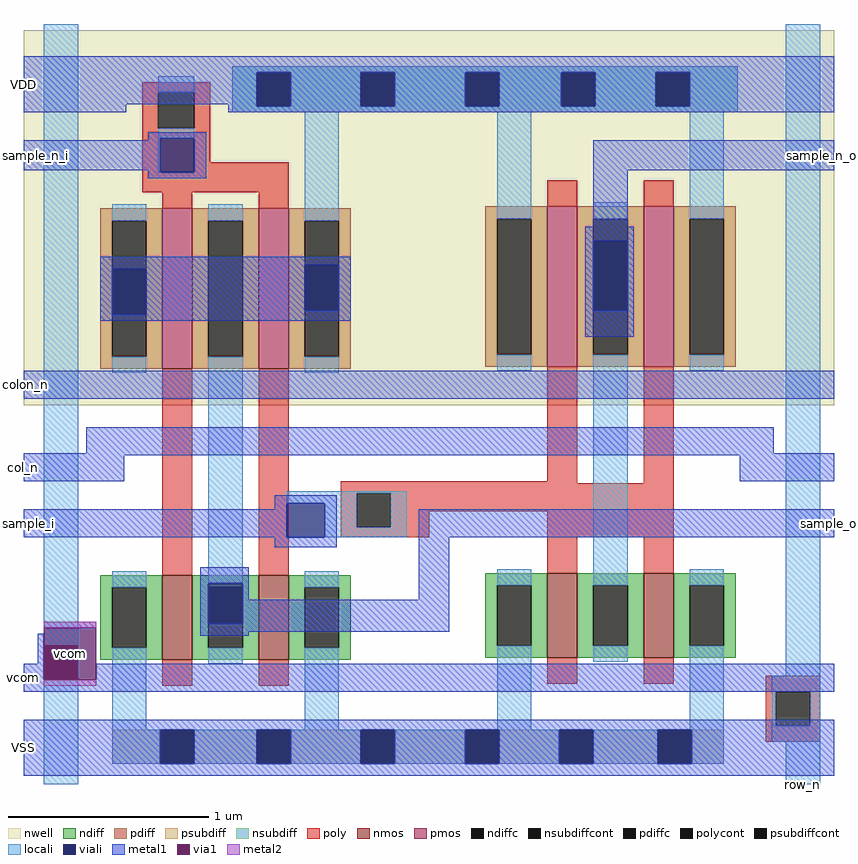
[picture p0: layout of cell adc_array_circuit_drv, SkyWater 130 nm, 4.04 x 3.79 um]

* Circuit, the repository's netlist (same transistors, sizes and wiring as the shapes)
* NGSPICE file created from adc_array_circuit_150n_Drv.ext - technology: sky130A

.subckt adc_array_circuit_drv vcom col_n colon_n row_n sample_n_i sample_i sample_o
+ sample_n_o VDD VSS
X0 sample_n_o sample_i VSS VSS sky130_fd_pr__nfet_01v8 ad=1.386e+11p pd=1.5e+06u as=5.208e+11p ps=5.84e+06u w=420000u l=150000u
X1 VSS sample_i sample_n_o VSS sky130_fd_pr__nfet_01v8 ad=0p pd=0u as=0p ps=0u w=420000u l=150000u
X2 sample_n_o sample_i VDD VDD sky130_fd_pr__pfet_01v8 ad=2.64e+11p pd=2.26e+06u as=9.92e+11p ps=8.88e+06u w=800000u l=150000u
X3 VDD sample_i sample_n_o VDD sky130_fd_pr__pfet_01v8 ad=0p pd=0u as=0p ps=0u w=800000u l=150000u
X4 sample_o sample_n_i VSS VSS sky130_fd_pr__nfet_01v8 ad=1.386e+11p pd=1.5e+06u as=0p ps=0u w=420000u l=150000u
X5 VSS sample_n_i sample_o VSS sky130_fd_pr__nfet_01v8 ad=0p pd=0u as=0p ps=0u w=420000u l=150000u
X6 sample_o sample_n_i VDD VDD sky130_fd_pr__pfet_01v8 ad=2.64e+11p pd=2.26e+06u as=0p ps=0u w=800000u l=150000u
X7 VDD sample_n_i sample_o VDD sky130_fd_pr__pfet_01v8 ad=0p pd=0u as=0p ps=0u w=800000u l=150000u
.ends

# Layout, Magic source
magic
tech sky130A
<< nwell >>
rect 117 474 521 661
<< nmos >>
rect 186 347 201 389
rect 234 347 249 389
rect 378 348 393 390
rect 426 348 441 390
<< pmos >>
rect 186 492 201 572
rect 234 492 249 572
rect 378 493 393 573
rect 426 493 441 573
<< ndiff >>
rect 155 383 186 389
rect 155 353 161 383
rect 178 353 186 383
rect 155 347 186 353
rect 201 383 234 389
rect 201 353 209 383
rect 226 353 234 383
rect 201 347 234 353
rect 249 383 280 389
rect 249 353 257 383
rect 274 353 280 383
rect 249 347 280 353
rect 347 384 378 390
rect 347 354 353 384
rect 370 354 378 384
rect 347 348 378 354
rect 393 384 426 390
rect 393 354 401 384
rect 418 354 426 384
rect 393 348 426 354
rect 441 384 472 390
rect 441 354 449 384
rect 466 354 472 384
rect 441 348 472 354
<< pdiff >>
rect 155 566 186 572
rect 155 498 161 566
rect 178 498 186 566
rect 155 492 186 498
rect 201 566 234 572
rect 201 498 209 566
rect 226 498 234 566
rect 201 492 234 498
rect 249 566 280 572
rect 249 498 257 566
rect 274 498 280 566
rect 249 492 280 498
rect 347 567 378 573
rect 347 499 353 567
rect 370 499 378 567
rect 347 493 378 499
rect 393 567 426 573
rect 393 499 401 567
rect 418 499 426 567
rect 393 493 426 499
rect 441 567 472 573
rect 441 499 449 567
rect 466 499 472 567
rect 441 493 472 499
<< ndiffc >>
rect 161 353 178 383
rect 209 353 226 383
rect 257 353 274 383
rect 353 354 370 384
rect 401 354 418 384
rect 449 354 466 384
<< pdiffc >>
rect 161 498 178 566
rect 209 498 226 566
rect 257 498 274 566
rect 353 499 370 567
rect 401 499 418 567
rect 449 499 466 567
<< psubdiff >>
rect 161 295 185 312
rect 202 295 233 312
rect 250 295 285 312
rect 302 295 337 312
rect 354 295 384 312
rect 401 295 433 312
rect 450 295 466 312
<< nsubdiff >>
rect 221 640 473 643
rect 221 623 233 640
rect 250 623 285 640
rect 302 623 337 640
rect 354 623 385 640
rect 402 623 432 640
rect 449 623 473 640
rect 221 620 473 623
<< psubdiffcont >>
rect 185 295 202 312
rect 233 295 250 312
rect 285 295 302 312
rect 337 295 354 312
rect 384 295 401 312
rect 433 295 450 312
<< nsubdiffcont >>
rect 233 623 250 640
rect 285 623 302 640
rect 337 623 354 640
rect 385 623 402 640
rect 432 623 449 640
<< poly >>
rect 176 630 210 635
rect 176 612 184 630
rect 202 612 210 630
rect 176 595 210 612
rect 176 580 249 595
rect 186 572 201 580
rect 234 572 249 580
rect 378 573 393 586
rect 426 573 441 586
rect 186 389 201 492
rect 234 389 249 492
rect 378 436 393 493
rect 275 435 393 436
rect 426 435 441 493
rect 275 430 441 435
rect 275 413 283 430
rect 300 421 441 430
rect 300 413 319 421
rect 275 408 319 413
rect 378 408 441 421
rect 378 390 393 408
rect 426 390 441 408
rect 186 334 201 347
rect 234 334 249 347
rect 378 335 393 348
rect 426 335 441 348
rect 487 331 514 339
rect 487 314 492 331
rect 509 314 514 331
rect 487 306 514 314
<< polycont >>
rect 184 612 202 630
rect 283 413 300 430
rect 492 314 509 331
<< locali >>
rect 127 354 144 664
rect 221 640 473 643
rect 184 630 202 638
rect 221 623 233 640
rect 250 623 285 640
rect 302 623 337 640
rect 354 623 385 640
rect 402 623 432 640
rect 449 623 473 640
rect 221 620 473 623
rect 184 607 202 612
rect 184 590 185 607
rect 161 566 178 574
rect 161 490 178 498
rect 209 566 226 574
rect 127 285 144 337
rect 161 383 178 391
rect 161 312 178 353
rect 209 385 226 498
rect 257 566 274 620
rect 257 490 274 498
rect 353 567 370 620
rect 353 491 370 499
rect 401 567 418 575
rect 248 430 308 431
rect 248 425 283 430
rect 267 413 283 425
rect 300 413 308 430
rect 267 408 308 413
rect 209 345 226 353
rect 257 383 274 391
rect 257 312 274 353
rect 353 384 370 392
rect 353 312 370 354
rect 401 384 418 499
rect 449 567 466 620
rect 449 491 466 499
rect 401 346 418 354
rect 449 384 466 392
rect 449 312 466 354
rect 497 339 514 664
rect 161 295 185 312
rect 202 295 233 312
rect 250 295 285 312
rect 302 295 337 312
rect 354 295 384 312
rect 401 295 433 312
rect 450 295 466 312
rect 490 331 514 339
rect 490 314 492 331
rect 509 314 514 331
rect 490 306 514 314
rect 497 285 514 306
<< viali >>
rect 233 623 250 640
rect 285 623 302 640
rect 337 623 354 640
rect 385 623 402 640
rect 432 623 449 640
rect 185 590 202 607
rect 161 519 178 542
rect 127 337 144 354
rect 257 521 274 544
rect 401 521 418 556
rect 248 408 267 425
rect 209 383 226 385
rect 209 365 226 383
rect 185 295 202 312
rect 233 295 250 312
rect 285 295 302 312
rect 337 295 354 312
rect 384 295 401 312
rect 433 295 450 312
<< metal1 >>
rect 117 640 521 648
rect 117 624 233 640
rect 117 620 168 624
rect 219 623 233 624
rect 250 623 285 640
rect 302 623 337 640
rect 354 623 385 640
rect 402 623 432 640
rect 449 623 521 640
rect 219 620 521 623
rect 179 607 208 610
rect 179 606 185 607
rect 117 591 185 606
rect 179 590 185 591
rect 202 590 208 607
rect 179 587 208 590
rect 401 591 521 606
rect 401 563 418 591
rect 397 556 421 563
rect 155 544 280 548
rect 155 542 257 544
rect 155 519 161 542
rect 178 521 257 542
rect 274 521 280 544
rect 178 519 280 521
rect 155 516 280 519
rect 397 521 401 556
rect 418 521 421 556
rect 397 508 421 521
rect 117 477 521 491
rect 148 450 491 463
rect 117 449 521 450
rect 117 436 167 449
rect 474 436 521 449
rect 242 425 273 429
rect 242 422 248 425
rect 117 408 248 422
rect 267 408 273 425
rect 242 403 273 408
rect 314 408 521 422
rect 205 385 229 393
rect 127 363 153 366
rect 124 345 127 360
rect 205 365 209 385
rect 226 377 229 385
rect 314 377 329 408
rect 226 365 329 377
rect 205 361 329 365
rect 205 359 229 361
rect 117 337 127 345
rect 153 337 521 345
rect 117 331 521 337
rect 117 312 521 317
rect 117 295 185 312
rect 202 295 233 312
rect 250 295 285 312
rect 302 295 337 312
rect 354 295 384 312
rect 401 295 433 312
rect 450 295 521 312
rect 117 289 521 295
<< via1 >>
rect 127 354 153 363
rect 127 337 144 354
rect 144 337 153 354
<< metal2 >>
rect 127 363 153 366
rect 127 334 153 337
<< labels >>
rlabel metal1 117 436 117 450 7 col_n
port 6 w
rlabel metal1 117 477 117 491 7 colon_n
port 7 w
rlabel metal1 117 331 117 345 7 vcom
port 3 w
rlabel metal1 117 289 117 317 7 VSS
port 2 w
rlabel metal1 117 620 117 648 7 VDD
port 1 w
rlabel locali 497 285 514 285 5 row_n
port 8 s
rlabel metal1 117 591 117 606 3 sample_n_i
port 9 e
rlabel metal1 117 408 117 422 3 sample_i
port 10 e
rlabel metal1 521 408 521 422 7 sample_o
port 11 w
rlabel metal1 521 591 521 606 7 sample_n_o
port 12 w
rlabel metal2 127 334 153 366 0 vcom
port 3 nsew
<< end >>
